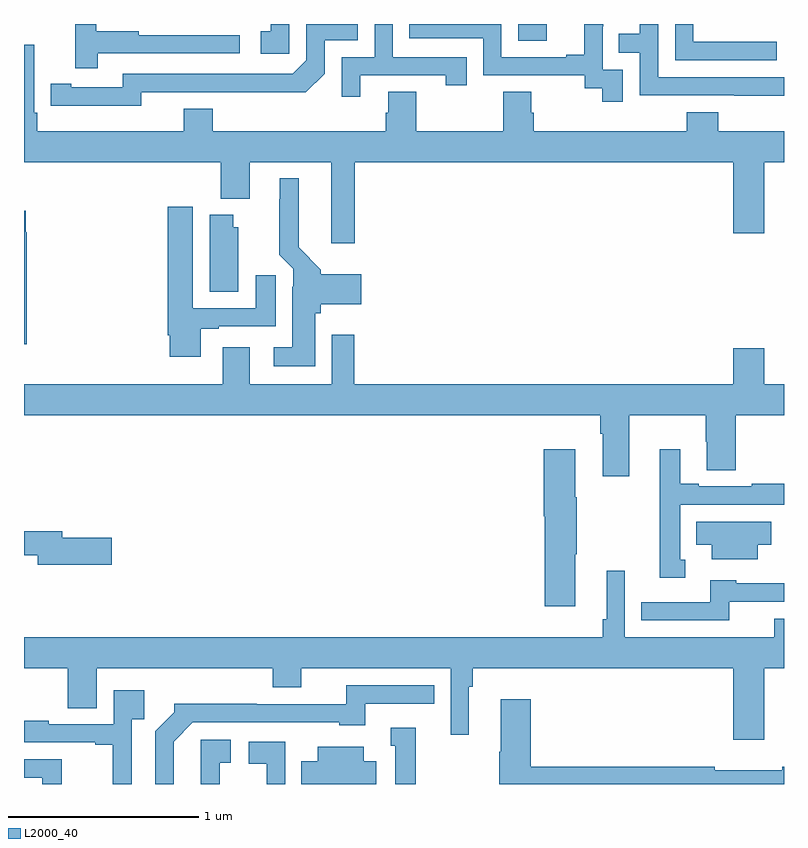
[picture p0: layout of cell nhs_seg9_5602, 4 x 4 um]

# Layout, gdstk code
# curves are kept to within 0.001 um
import gdstk
lib = gdstk.Library(unit=1e-6, precision=1e-09)
def R(c, l, rs):  # rectangles x0, y0, x1, y1
    for r in rs: c.add(gdstk.rectangle(r[:2], r[2:], *l))
def P(c, l, *ps):  # polygons
    for p in ps: c.add(gdstk.Polygon(p, *l))
L2000_40 = (2000, 40)

nhs_seg9_5602 = lib.new_cell('nhs_seg9_5602')
R(nhs_seg9_5602, L2000_40, [(439.602,1178.412,439.75,1178.5), (440.608,1178.498,441,1178.5)])
P(nhs_seg9_5602, L2000_40, [(440.151,1178.259),(440.046,1178.259),(440.046,1178.489),(440.048,1178.489),(440.048,1178.5),(439.949,1178.5),(439.949,1178.338),(439.853,1178.338),(439.853,1178.325),(439.512,1178.325),(439.512,1178.5),(439.027,1178.5),(439.027,1178.424),(439.416,1178.424),(439.416,1178.229),(439.95,1178.229),(439.95,1178.161),(440.043,1178.161),(440.043,1178.091),(440.151,1178.091)],
  [(440.962,1178.406),(440.523,1178.406),(440.523,1178.5),(440.427,1178.5),(440.427,1178.31),(440.962,1178.31)],
  [(441,1178.22),(440.337,1178.22),(440.337,1178.5),(440.241,1178.5),(440.241,1178.45),(440.131,1178.45),(440.131,1178.349),(440.241,1178.349),(440.241,1178.124),(440.737,1178.124),(440.737,1178.123),(441,1178.123)],
  [(438.396,1178.5),(438.299,1178.5),(438.299,1178.463),(438.246,1178.463),(438.246,1178.343),(438.396,1178.343)],
  [(437.387,1178.346),(438.136,1178.346),(438.136,1178.442),(437.603,1178.442),(437.603,1178.462),(437.38,1178.462),(437.38,1178.5),(437.27,1178.5),(437.27,1178.268),(437.387,1178.268)],
  [(438.769,1178.229),(439.22,1178.229),(439.22,1178.178),(439.331,1178.178),(439.331,1178.325),(438.942,1178.325),(438.942,1178.5),(438.846,1178.5),(438.846,1178.325),(438.672,1178.325),(438.672,1178.118),(438.769,1178.118)],
  [(437.616,1178.142),(438.484,1178.141),(438.582,1178.238),(438.582,1178.415),(438.756,1178.415),(438.756,1178.5),(438.486,1178.5),(438.486,1178.31),(438.414,1178.238),(437.52,1178.238),(437.52,1178.166),(437.248,1178.166),(437.248,1178.186),(437.14,1178.186),(437.14,1178.07),(437.616,1178.069)],
  [(438.74,1177.772),(440.732,1177.772),(440.732,1177.398),(440.896,1177.398),(440.896,1177.772),(441,1177.772),(441,1177.936),(440.654,1177.936),(440.654,1178.035),(440.489,1178.035),(440.489,1177.936),(439.682,1177.936),(439.682,1178.034),(439.669,1178.034),(439.669,1178.144),(439.522,1178.144),(439.522,1177.936),(439.065,1177.936),(439.065,1178.144),(438.917,1178.144),(438.917,1178.034),(438.905,1178.034),(438.905,1177.936),(437.993,1177.936),(437.993,1178.053),(437.84,1178.053),(437.84,1177.936),(437.069,1177.936),(437.069,1178.032),(437.055,1178.032),(437.055,1178.392),(437,1178.392),(437,1177.772),(438.035,1177.772),(438.035,1177.58),(438.187,1177.58),(438.187,1177.772),(438.617,1177.772),(438.617,1177.347),(438.74,1177.347)],
  [(438.532,1176.978),(438.563,1176.978),(438.563,1177.025),(438.775,1177.025),(438.775,1177.183),(438.563,1177.183),(438.563,1177.206),(438.445,1177.324),(438.445,1177.687),(438.347,1177.687),(438.347,1177.577),(438.343,1177.577),(438.343,1177.286),(438.417,1177.212),(438.417,1177.118),(438.413,1177.118),(438.413,1176.799),(438.315,1176.799),(438.315,1176.698),(438.532,1176.698)],
  [(437.929,1176.897),(438.025,1176.897),(438.025,1176.909),(438.325,1176.909),(438.325,1177.177),(438.221,1177.177),(438.221,1177.005),(437.887,1177.005),(437.887,1177.537),(437.756,1177.537),(437.756,1176.862),(437.768,1176.862),(437.768,1176.75),(437.929,1176.75)],
  [(437.015,1177.403),(437.008,1177.403),(437.008,1177.516),(437,1177.516),(437,1176.815),(437.015,1176.815)],
  [(438.127,1177.431),(438.1,1177.431),(438.1,1177.495),(437.978,1177.495),(437.978,1177.09),(438.127,1177.09)],
  [(440.185,1176.44),(440.587,1176.44),(440.587,1176.302),(440.594,1176.302),(440.594,1176.151),(440.747,1176.151),(440.747,1176.44),(441,1176.44),(441,1176.604),(440.896,1176.604),(440.896,1176.793),(440.732,1176.793),(440.732,1176.604),(438.737,1176.604),(438.737,1176.865),(438.621,1176.865),(438.621,1176.604),(438.187,1176.604),(438.187,1176.799),(438.047,1176.799),(438.047,1176.604),(437,1176.604),(437,1176.44),(440.033,1176.44),(440.033,1176.344),(440.045,1176.344),(440.045,1176.12),(440.185,1176.12)],
  [(439.9,1175.71),(439.908,1175.71),(439.908,1176.01),(439.9,1176.01),(439.9,1176.262),(439.736,1176.262),(439.736,1175.91),(439.742,1175.91),(439.742,1175.436),(439.9,1175.436)],
  [(440.479,1175.679),(440.454,1175.679),(440.454,1175.97),(441,1175.97),(441,1176.079),(440.83,1176.079),(440.83,1176.066),(440.551,1176.066),(440.551,1176.079),(440.455,1176.079),(440.455,1176.262),(440.345,1176.262),(440.345,1176.017),(440.346,1176.017),(440.346,1175.585),(440.479,1175.585)],
  [(440.863,1175.759),(440.932,1175.759),(440.932,1175.881),(440.539,1175.881),(440.539,1175.759),(440.621,1175.759),(440.621,1175.684),(440.863,1175.684)],
  [(437.461,1175.795),(437.2,1175.795),(437.2,1175.831),(437,1175.831),(437,1175.703),(437.072,1175.703),(437.072,1175.653),(437.461,1175.653)],
  [(440.896,1175.108),(441,1175.108),(441,1175.371),(440.948,1175.371),(440.948,1175.272),(440.163,1175.272),(440.163,1175.623),(440.066,1175.623),(440.066,1175.368),(440.047,1175.368),(440.047,1175.272),(437,1175.272),(437,1175.108),(437.231,1175.108),(437.231,1174.9),(437.383,1174.9),(437.383,1175.108),(438.308,1175.108),(438.308,1175.009),(438.46,1175.009),(438.46,1175.108),(439.245,1175.108),(439.245,1174.758),(439.342,1174.758),(439.342,1175.012),(439.361,1175.012),(439.361,1175.108),(440.732,1175.108),(440.732,1174.734),(440.896,1174.734)],
  [(440.712,1175.46),(441,1175.46),(441,1175.556),(440.748,1175.556),(440.748,1175.572),(440.612,1175.572),(440.612,1175.457),(440.248,1175.457),(440.248,1175.361),(440.712,1175.361)],
  [(437.788,1174.723),(437.889,1174.824),(438.66,1174.824),(438.66,1174.808),(438.796,1174.808),(438.796,1174.923),(439.16,1174.923),(439.16,1175.019),(438.697,1175.019),(438.697,1174.92),(438.224,1174.92),(438.224,1174.922),(437.79,1174.922),(437.79,1174.877),(437.691,1174.778),(437.691,1174.5),(437.788,1174.5)],
  [(437.568,1174.841),(437.633,1174.841),(437.633,1174.993),(437.472,1174.993),(437.472,1174.815),(437.131,1174.815),(437.131,1174.834),(437,1174.834),(437,1174.719),(437.375,1174.719),(437.375,1174.707),(437.467,1174.707),(437.467,1174.5),(437.568,1174.5)],
  [(441,1174.592),(440.992,1174.592),(440.992,1174.573),(440.636,1174.573),(440.636,1174.592),(439.667,1174.592),(439.667,1174.945),(439.508,1174.945),(439.508,1174.669),(439.501,1174.669),(439.501,1174.5),(441,1174.5)],
  [(439.063,1174.795),(438.929,1174.795),(438.929,1174.701),(438.954,1174.701),(438.954,1174.5),(439.063,1174.5)],
  [(438.03,1174.611),(438.088,1174.611),(438.088,1174.732),(437.93,1174.732),(437.93,1174.5),(438.03,1174.5)],
  [(438.375,1174.722),(438.183,1174.722),(438.183,1174.606),(438.277,1174.606),(438.277,1174.5),(438.375,1174.5)],
  [(438.853,1174.621),(438.787,1174.621),(438.787,1174.696),(438.545,1174.696),(438.545,1174.621),(438.46,1174.621),(438.46,1174.5),(438.853,1174.5)],
  [(437.198,1174.629),(437,1174.629),(437,1174.533),(437.097,1174.533),(437.097,1174.5),(437.198,1174.5)])

lib.write_gds('nhs_seg9_5602.gds')
